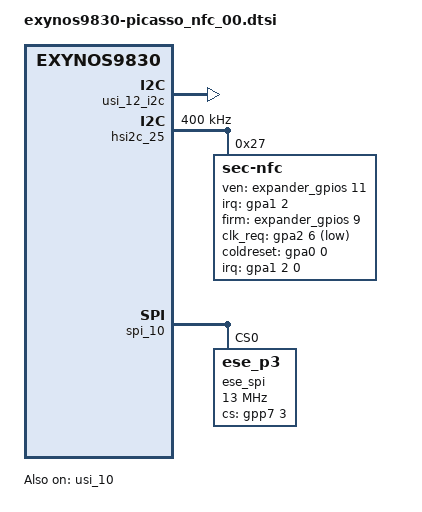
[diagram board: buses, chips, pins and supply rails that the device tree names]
/* Copyright (c) 2013, Samsung Electronics Corporation. All rights reserved.
 *
 * This program is free software; you can redistribute it and/or modify
 * it under the terms of the GNU General Public License version 2 and
 * only version 2 as published by the Free Software Foundation.
 *
 * This program is distributed in the hope that it will be useful,
 * but WITHOUT ANY WARRANTY; without even the implied warranty of
 * MERCHANTABILITY or FITNESS FOR A PARTICULAR PURPOSE.  See the
 * GNU General Public License for more details.
 */

&usi_12_i2c {
	usi_v2_mode = "i2c";
	status = "okay";
};

/* PERIC1 USI12_I2C */
&hsi2c_25 {
	status = "okay";
	clock-frequency = <400000>;

	sec-nfc@27 {
		compatible = "sec-nfc";
		reg = <0x27>;

		interrupts = <2 0 0>;
		interrupt-parent = <&gpa1>;

		sec-nfc,ven-gpio = <&expander_gpios 11 0>;
		sec-nfc,irq-gpio = <&gpa1 2 0>;
		sec-nfc,firm-gpio = <&expander_gpios 9 0>;
		sec-nfc,clk_req-gpio = <&gpa2 6 0xf>;
		sec-nfc,nfc_pvdd = "VDD_NFC_1P8";
		sec-nfc,coldreset-gpio = <&gpa0 0 0>;

		clocks = <&clock OSC_NFC>;
		clock-names = "oscclk_nfc";
		sec-nfc,nfc_ap_clk;
		sec-nfc,ldo_control;
	};
};

&pinctrl_5 {
	spi10_bus_suspend: spi10-bus-suspend {
		samsung,pins = "gpp7-2", "gpp7-1", "gpp7-0";
		samsung,pin-function = <0>;	/* INPUT */
		samsung,pin-pud = <1>;		/* DOWN */
		samsung,pin-drv = <0>;
	};
	spi10_cs_suspend: spi10-cs-suspend {
		samsung,pins = "gpp7-3";
		samsung,pin-function = <0>;	/* INPUT */
		samsung,pin-pud = <1>;		/* DOWN */
		samsung,pin-drv = <0>;
	};
};

&usi_10 {
	usi_v2_mode = "spi";
	status = "okay";
};

/* SPI USI_PERIC1_USI10_SPI */
&spi_10 {
	status = "okay";
	/delete-property/ pinctrl-names;
	/delete-property/ pinctrl-0;
	pinctrl-names = "ese_active", "ese_suspend";
	pinctrl-0 = <&spi10_bus &spi10_cs>;
	pinctrl-1 = <&spi10_bus_suspend &spi10_cs_suspend>;

	ese_spi@0 {
		compatible = "ese_p3";
		reg = <0>;
		spi-max-frequency = <13000000>;
		gpio-controller;
		#gpio-cells = <2>;

		p3-vdd-1p8= "VDD_ESE_1P8";

		clocks = <&clock GATE_PERIC1_TOP1_QCH_USI10_USI>, <&clock DOUT_CLK_PERIC1_USI10_USI>;
		clock-names = "pclk", "sclk";
		ese_p3,cs-gpio = <&gpp7 3 0>;

		controller-data {
			samsung,spi-feedback-delay = <0>;
			samsung,spi-chip-select-mode = <0>;
		};
	};
};
